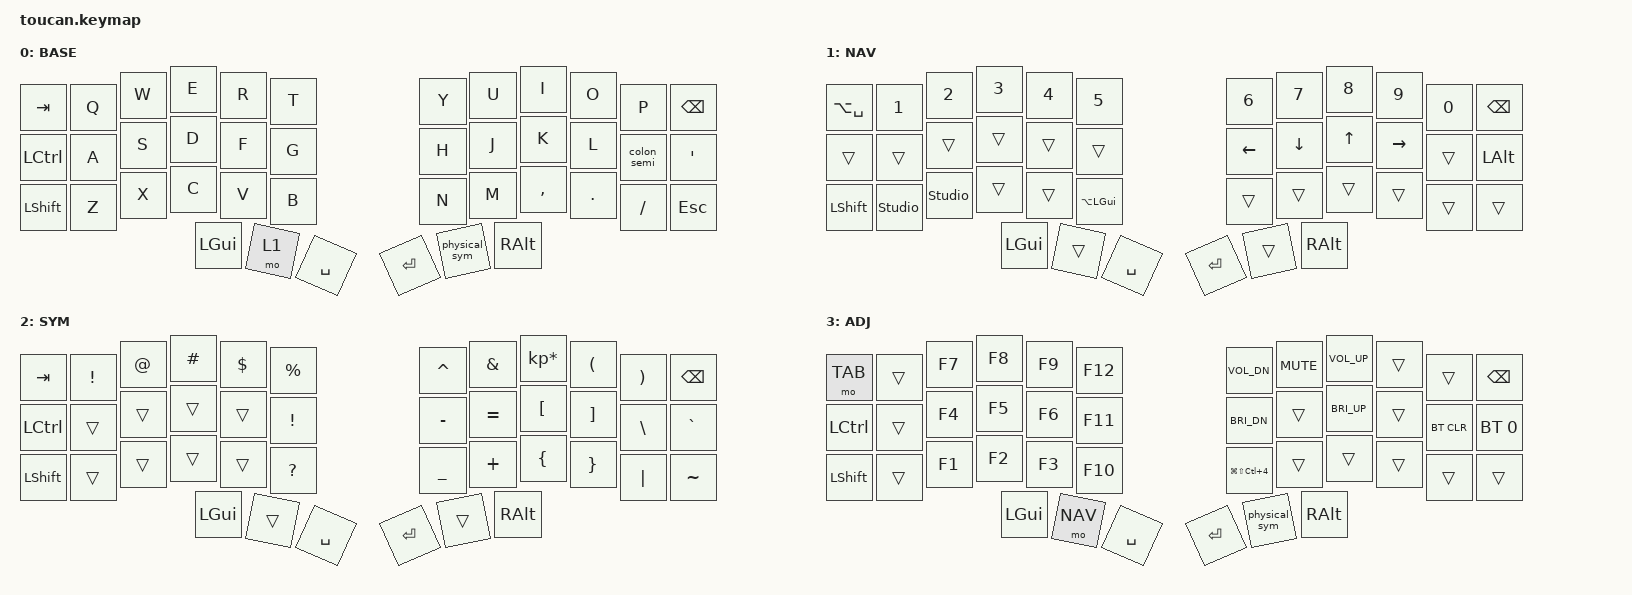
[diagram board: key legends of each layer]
#include <behaviors.dtsi>
#include <dt-bindings/zmk/keys.h>
#include <dt-bindings/zmk/modifiers.h>
#include <dt-bindings/zmk/bt.h>
#include <dt-bindings/zmk/outputs.h>
#include <dt-bindings/zmk/pointing.h>
#include <zephyr/dt-bindings/input/input-event-codes.h>

#define BASE 0
#define NAV  1
#define SYM  2
#define ADJ  3

/ {
    macros {
        // SYM layer: trackpad tap -> self-contained mouse "back" button (MB4).
        sym_back_tap: sym_back_tap {
            compatible = "zmk,behavior-macro";
            #binding-cells = <0>;
            wait-ms = <0>;
            tap-ms = <20>;
            bindings = <&mkp MB4>;
        };

        // ADJ layer: trackpad tap -> self-contained mouse "forward" button (MB5).
        adj_forward_tap: adj_forward_tap {
            compatible = "zmk,behavior-macro";
            #binding-cells = <0>;
            wait-ms = <0>;
            tap-ms = <20>;
            bindings = <&mkp MB5>;
        };

        physical_sym: physical_sym {
            compatible = "zmk,behavior-macro";
            #binding-cells = <0>;
            wait-ms = <0>;
            tap-ms = <0>;
            bindings = <
                &macro_press
                &mo 2
                &macro_pause_for_release
                &macro_release
                &mkp MB4
                &mo 2
            >;
        };
    };

    behaviors {
        // The ";" key types ":" on its own and ";" with shift — the reverse of the
        // stock US layout. keep-mods is omitted, so mod-morph masks the shift it
        // matched on (behavior_mod_morph.c:97) and the morphed tap emits a bare ";".
        colon_semi: colon_semi {
            compatible = "zmk,behavior-mod-morph";
            #binding-cells = <0>;
            bindings = <&kp COLON>, <&kp SEMI>;
            mods = <(MOD_LSFT|MOD_RSFT)>;
        };
    };

    input_processors {
        adj_forward_processor: adj_forward_processor {
            compatible = "zmk,input-processor-behaviors";
            #input-processor-cells = <0>;
            codes = <INPUT_BTN_0>;
            bindings = <&adj_forward_tap>;
        };

        sym_back_processor: sym_back_processor {
            compatible = "zmk,input-processor-behaviors";
            #input-processor-cells = <0>;
            codes = <INPUT_BTN_0>;
            bindings = <&sym_back_tap>;
        };
    };

    conditional_layers {
        compatible = "zmk,conditional-layers";
        tri_layer {
            if-layers = <1 2>;
            then-layer = <3>;
        };
    };

    keymap {
        compatible = "zmk,keymap";

        base {
            display-name = "BASE";
            bindings = <
                &kp TAB   &kp Q &kp W &kp E &kp R &kp T   &kp Y &kp U  &kp I     &kp O   &kp P    &kp BSPC
                &kp LCTRL &kp A &kp S &kp D &kp F &kp G   &kp H &kp J  &kp K     &kp L   &colon_semi &kp SQT
                &kp LSHFT &kp Z &kp X &kp C &kp V &kp B   &kp N &kp M  &kp COMMA &kp DOT &kp FSLH &kp ESC
                                &kp LGUI &mo 1 &kp SPACE   &kp RET &physical_sym &kp RALT
            >;
        };

        nav {
            display-name = "NAV";
            bindings = <
                &kp LA(SPACE) &kp N1          &kp N2       &kp N3       &kp N4       &kp N5         &kp N6   &kp N7   &kp N8 &kp N9    &kp N0 &kp BSPC
                // The right pinky outer key holds Option. With NAV's arrows on h/j/k/l
                // and Cmd on the left thumb, Cmd+Option+arrow moves pane focus and
                // adding Shift resizes (see ~/.config/ghostty/config "Pane resize").
                &trans      &trans          &trans       &trans       &trans       &trans         &kp LEFT &kp DOWN &kp UP &kp RIGHT &trans &kp LALT
                // B holds Cmd+Option: with NAV's arrows on h/j/k/l this produces
                // super+alt+arrow, which Ghostty maps to zellij's pane focus
                // (see ~/.config/ghostty/config "Pane focus").
                &kp LSHFT   &studio_unlock  &studio_unlock &trans      &trans       &kp LA(LGUI)   &trans   &trans   &trans &trans    &trans &trans
                                                &kp LGUI     &trans       &kp SPACE      &kp RET  &trans   &kp RALT
            >;
        };

        sym {
            display-name = "SYM";
            bindings = <
                &kp TAB   &kp EXCL &kp AT &kp HASH &kp DLLR &kp PRCNT   &kp CARET &kp AMPS  &kp KP_MULTIPLY &kp LPAR &kp RPAR &kp BSPC
                &kp LCTRL &trans   &trans &trans   &trans   &kp EXCL    &kp MINUS &kp EQUAL &kp LBKT        &kp RBKT &kp BSLH &kp GRAVE
                &kp LSHFT &trans   &trans &trans   &trans   &kp QMARK   &kp UNDER &kp PLUS  &kp LBRC        &kp RBRC &kp PIPE &kp TILDE
                                          &kp LGUI &trans   &kp SPACE   &kp RET   &trans    &kp RALT
            >;
        };

        adj {
            display-name = "ADJ";
            bindings = <
                &mo TAB   &trans &kp F7 &kp F8 &kp F9 &kp F12   &kp C_VOL_DN &kp C_MUTE  &kp C_VOL_UP &trans &trans &kp BSPC
                &kp LCTRL &trans        &kp F4 &kp F5 &kp F6 &kp F11   &kp C_BRI_DN &trans       &kp C_BRI_UP &trans       &bt BT_CLR   &bt BT_SEL 0
                &kp LSHFT &trans &kp F1 &kp F2 &kp F3 &kp F10   &kp LG(LS(LC(N4))) &trans &trans       &trans       &trans       &trans
                                   &kp LGUI &mo NAV &kp SPACE   &kp RET &physical_sym &kp RALT
            >;
        };
        extra_1 {
                status = "reserved";
        };

        extra_2 {
                status = "reserved";
        };

        extra_3 {
                status = "reserved";
        };
    };
};
